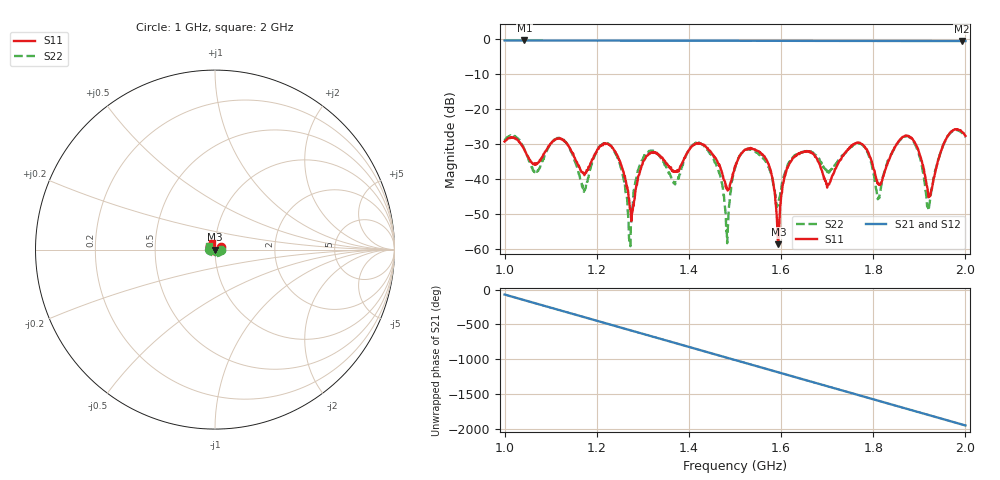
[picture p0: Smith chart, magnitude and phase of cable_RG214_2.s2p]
#  HZ  S  DB  R  50.00
! Rohde & Schwarz Vector Network Analyzer
! Rohde-Schwarz,ZNB8-4Port,1311601044102961,2.82
! Created: UTC 3/4/2022, 3:59:27 PM
! freq[Hz]  db:S11  ang:S11  db:S21  ang:S21  db:S12  ang:S12  db:S22  ang:S22
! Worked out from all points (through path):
!   1001 points, 1 GHz to 2 GHz, reference 50 ohm
!   highest |S21| = -0.38 dB at 1.043 GHz (marker M1); lowest = -0.6 dB at 1.992 GHz (marker M2)
!   group delay of S21, straight-line fit = 5.2 ns
!   lowest |S11| = -58.7 dB at 1.594 GHz (marker M3), VSWR 1.00, Z = 50.1 - j0.0974 ohm
!   |S11| at or under -10 dB: start of sweep to end of sweep
!   |S22| runs from -59.3 to -26.0 dB; largest |S21 - S12| = 0.0024
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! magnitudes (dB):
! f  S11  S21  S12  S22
! 1 GHz  -29.3  -0.4  -0.4  -29.0
! 1.043 GHz  -31.7  -0.4  -0.4  -31.6
! 1.167 GHz  -38.1  -0.4  -0.4  -41.2
! 1.228 GHz  -30.3  -0.4  -0.4  -30.2
! 1.272 GHz  -48.6  -0.4  -0.4  -57.6
! 1.294 GHz  -37.7  -0.4  -0.4  -35.8
! 1.334 GHz  -33.0  -0.4  -0.4  -33.1
! 1.434 GHz  -30.4  -0.5  -0.5  -30.8
! 1.482 GHz  -42.9  -0.5  -0.5  -54.7
! 1.5 GHz  -36.4  -0.5  -0.5  -37.0
! 1.563 GHz  -33.4  -0.5  -0.5  -34.3
! 1.594 GHz  -58.7  -0.5  -0.5  -47.2
! 1.617 GHz  -36.1  -0.5  -0.5  -35.2
! 1.667 GHz  -32.7  -0.5  -0.5  -32.4
! 1.702 GHz  -41.6  -0.5  -0.5  -37.6
! 1.775 GHz  -30.1  -0.5  -0.5  -30.1
! 1.811 GHz  -41.5  -0.5  -0.5  -45.4
! 1.834 GHz  -34.7  -0.5  -0.5  -34.3
! 1.883 GHz  -28.2  -0.5  -0.5  -28.5
! 1.92 GHz  -45.3  -0.5  -0.5  -49.1
! 1.992 GHz  -26.4  -0.6  -0.5  -26.7
! 2 GHz  -27.7  -0.6  -0.5  -28.1
